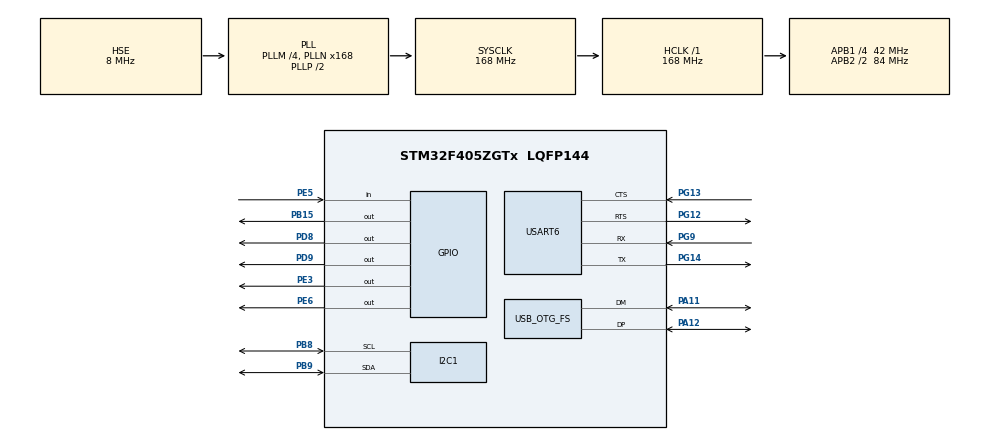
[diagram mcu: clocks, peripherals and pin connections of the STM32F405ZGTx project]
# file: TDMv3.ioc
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Dma.Request0=USART6_RX
Dma.USART6_RX.0.Direction=DMA_PERIPH_TO_MEMORY
Dma.USART6_RX.0.FIFOMode=DMA_FIFOMODE_DISABLE
Dma.USART6_RX.0.Instance=DMA2_Stream1
Dma.USART6_RX.0.MemDataAlignment=DMA_MDATAALIGN_BYTE
Dma.USART6_RX.0.MemInc=DMA_MINC_ENABLE
Dma.USART6_RX.0.Mode=DMA_NORMAL
Dma.USART6_RX.0.PeriphDataAlignment=DMA_PDATAALIGN_BYTE
Dma.USART6_RX.0.PeriphInc=DMA_PINC_DISABLE
Dma.USART6_RX.0.Priority=DMA_PRIORITY_HIGH
Mcu.Family=STM32F4
Mcu.Name=STM32F405ZGTx
Mcu.Package=LQFP144
NVIC.DMA2_Stream1_IRQn=true\:0\:0\:false\:false\:true
NVIC.OTG_FS_IRQn=true\:0\:0\:false\:false\:true
NVIC.PriorityGroup=NVIC_PRIORITYGROUP_4
PA11.Mode=Device_Only
PA11.Signal=USB_OTG_FS_DM
PA12.Mode=Device_Only
PA12.Signal=USB_OTG_FS_DP
PB15.Signal=GPIO_Output
PB8.Mode=I2C
PB8.Signal=I2C1_SCL
PB9.Mode=I2C
PB9.Signal=I2C1_SDA
PD8.Signal=GPIO_Output
PD9.Signal=GPIO_Output
PE3.Signal=GPIO_Output
PE5.Signal=GPIO_Input
PE6.Signal=GPIO_Output
PG12.Mode=CTS_RTS
PG12.Signal=USART6_RTS
PG13.Mode=CTS_RTS
PG13.Signal=USART6_CTS
PG14.Mode=Asynchronous
PG14.Signal=USART6_TX
PG9.Mode=Asynchronous
PG9.Signal=USART6_RX
PH0-OSC_IN.Mode=HSE-External-Oscillator
PH0-OSC_IN.Signal=RCC_OSC_IN
PH1-OSC_OUT.Mode=HSE-External-Oscillator
PH1-OSC_OUT.Signal=RCC_OSC_OUT
ProjectManager.HeapSize=0x800
ProjectManager.StackSize=0x400
ProjectManager.TargetToolchain=MDK-ARM V5
RCC.48MHZClocksFreq_Value=48000000
RCC.AHBFreq_Value=168000000
RCC.APB1CLKDivider=RCC_HCLK_DIV4
RCC.APB1Freq_Value=42000000
RCC.APB1TimFreq_Value=84000000
RCC.APB2CLKDivider=RCC_HCLK_DIV2
RCC.APB2Freq_Value=84000000
RCC.APB2TimFreq_Value=168000000
RCC.CortexFreq_Value=168000000
RCC.HCLKFreq_Value=168000000
RCC.HSE_VALUE=8000000
RCC.HSI_VALUE=16000000
RCC.LSE_VALUE=32768
RCC.PLLM=4
RCC.PLLN=168
RCC.PLLQ=7
RCC.SYSCLKFreq_VALUE=168000000
RCC.SYSCLKSource=RCC_SYSCLKSOURCE_PLLCLK
RCC.VCOOutputFreq_Value=336000000
USART6.OverSampling=UART_OVERSAMPLING_8
USART6.WordLength=UART_WORDLENGTH_8B
USB_DEVICE.CLASS_NAME-CDC_FS=CDC
USB_DEVICE.CLASS_NAME_FS=CDC
USB_DEVICE.USBD_HandleTypeDef-CDC_FS=hUsbDeviceFS
USB_DEVICE.VirtualMode-CDC_FS=Cdc
USB_DEVICE.VirtualModeFS=Cdc_FS
USB_OTG_FS.VirtualMode=Device_Only
USB_OTG_FS.ep0_mps=DEP0CTL_MPS_8
USB_OTG_FS.vbus_sensing_enable=DISABLE
VP_USB_DEVICE_VS_USB_DEVICE_CDC_FS.Mode=CDC_FS
board=TDMv3

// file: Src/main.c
/**
  ******************************************************************************
  * File Name          : main.c
  * Description        : Main program body
  ******************************************************************************
  *
  * COPYRIGHT(c) 2017 STMicroelectronics
  *
  * Redistribution and use in source and binary forms, with or without modification,
  * are permitted provided that the following conditions are met:
  *   1. Redistributions of source code must retain the above copyright notice,
  *      this list of conditions and the following disclaimer.
  *   2. Redistributions in binary form must reproduce the above copyright notice,
  *      this list of conditions and the following disclaimer in the documentation
  *      and/or other materials provided with the distribution.
  *   3. Neither the name of STMicroelectronics nor the names of its contributors
  *      may be used to endorse or promote products derived from this software
  *      without specific prior written permission.
  *
  * THIS SOFTWARE IS PROVIDED BY THE COPYRIGHT HOLDERS AND CONTRIBUTORS "AS IS"
  * AND ANY EXPRESS OR IMPLIED WARRANTIES, INCLUDING, BUT NOT LIMITED TO, THE
  * IMPLIED WARRANTIES OF MERCHANTABILITY AND FITNESS FOR A PARTICULAR PURPOSE ARE
  * DISCLAIMED. IN NO EVENT SHALL THE COPYRIGHT HOLDER OR CONTRIBUTORS BE LIABLE
  * FOR ANY DIRECT, INDIRECT, INCIDENTAL, SPECIAL, EXEMPLARY, OR CONSEQUENTIAL
  * DAMAGES (INCLUDING, BUT NOT LIMITED TO, PROCUREMENT OF SUBSTITUTE GOODS OR
  * SERVICES; LOSS OF USE, DATA, OR PROFITS; OR BUSINESS INTERRUPTION) HOWEVER
  * CAUSED AND ON ANY THEORY OF LIABILITY, WHETHER IN CONTRACT, STRICT LIABILITY,
  * OR TORT (INCLUDING NEGLIGENCE OR OTHERWISE) ARISING IN ANY WAY OUT OF THE USE
  * OF THIS SOFTWARE, EVEN IF ADVISED OF THE POSSIBILITY OF SUCH DAMAGE.
  *
  ******************************************************************************
  */
#include "stm32f4xx_hal.h"
#include "usb_device.h"

/* USER CODE BEGIN Includes */
#include "usbd_cdc_if.h"
#include "main.h"
#include <string.h>

/* USER CODE END Includes */

I2C_HandleTypeDef hi2c1;

UART_HandleTypeDef huart6;
DMA_HandleTypeDef hdma_usart6_rx;

/* USER CODE BEGIN PV */
/* Private variables ---------------------------------------------------------*/
static const uint16_t BUFSIZE = 20;
static const uint16_t TIMEOUT = 500;
static const uint8_t scanIntervalMs = 10;
static uint8_t rxByte = 0, rxBufIdx = 0;
static uint8_t rxBuf[BUFSIZE];
static uint8_t txBuf[BUFSIZE];
static uint8_t data[BUFSIZE] = {0,0,1,1,2,2,3,3,4,4,5,5,6,6,7,7,8,8,9,9};
static uint16_t counterBT = 0, timerBT = 0;
uint8_t txBleUart = 1;

/* USER CODE END PV */

void SystemClock_Config(void);
void Error_Handler(void);
static void MX_GPIO_Init(void);
static void MX_DMA_Init(void);
static void MX_USART6_UART_Init(void);
static void MX_I2C1_Init(void);

/* USER CODE BEGIN PFP */
/* Private function prototypes -----------------------------------------------*/
void checkUsbComBuf(void);
#define USB_COM_BUFSIZE 128
uint8_t usbComOutBuf[USB_COM_BUFSIZE];

/* USER CODE END PFP */

/* USER CODE BEGIN 0 */

typedef enum
{
  StateOff = 0,
  StateOn
} StateOnOff;

static void setLed(uint8_t ledIdx, StateOnOff state)
{
  switch (ledIdx)
  {
    case 1:
      HAL_GPIO_WritePin(GPIOB, GPIO_PIN_15, (GPIO_PinState)state);
    break;
    case 2:
      HAL_GPIO_WritePin(GPIOD, GPIO_PIN_8,  (GPIO_PinState)state);
    break;
    case 3:
      HAL_GPIO_WritePin(GPIOD, GPIO_PIN_9,  (GPIO_PinState)state);
    break;
  }
}

static void setBlePwr(StateOnOff state)
{
	HAL_GPIO_WritePin(GPIOE, GPIO_PIN_3, (state == StateOn) ? GPIO_PIN_RESET : GPIO_PIN_SET);
}

static void setBleWake(GPIO_PinState state)
{
	HAL_GPIO_WritePin(GPIOE, GPIO_PIN_6, state);
}

/* USER CODE END 0 */

int main(void)
{

  /* MCU Configuration----------------------------------------------------------*/

  /* Reset of all peripherals, Initializes the Flash interface and the Systick. */
  HAL_Init();

  /* Configure the system clock */
  SystemClock_Config();

  /* Initialize all configured peripherals */
  MX_GPIO_Init();
  MX_DMA_Init();
  MX_USART6_UART_Init();
  MX_I2C1_Init();
  MX_USB_DEVICE_Init();

  /* USER CODE BEGIN 2 */
  setLed(1, StateOn);
  setBlePwr(StateOn);
  memset(txBuf, 0, BUFSIZE);
  memset(rxBuf, 0, BUFSIZE);
  /* USER CODE END 2 */

  /* Infinite loop */
  /* USER CODE BEGIN WHILE */
  LIS3DSH_Detect();
  LIS3DSH_Init(LIS3DSH_Sensitivity_2G, LIS3DSH_Filter_800Hz);
  l3g_init();
  l3g_enableDefault();
  uint32_t oldTick = 0;
  uint8_t led2State = StateOn;
  SNR_DATA_t dataBlock;

  HAL_UART_Receive_DMA(&huart6, &rxByte, 1);

  while (1)
  {
  /* USER CODE END WHILE */

  /* USER CODE BEGIN 3 */
    uint32_t newTick = HAL_GetTick();
    if (newTick - oldTick < scanIntervalMs)
    {
      continue;
    }

    checkUsbComBuf();

    oldTick = newTick;
    timerBT++;

    LIS3DSH_ReadAxes(&(dataBlock.dataLIS3DSH));
    l3g_read(&(dataBlock.dataL3GD20H));

    if ((dataBlock.dataLIS3DSH.X == 0 && dataBlock.dataLIS3DSH.Y == 0 && dataBlock.dataLIS3DSH.Z == 0) ||
        (dataBlock.dataL3GD20H.x == 0 && dataBlock.dataL3GD20H.y == 0 && dataBlock.dataL3GD20H.z == 0))
      Error_Handler();

    if (TIMEOUT <= timerBT * scanIntervalMs)
    {
      timerBT = 0;
      setLed(2, led2State);
      led2State = !led2State;
      memcpy(txBuf + 2, data + 2, 18);
      *((uint16_t *)txBuf) = counterBT++;
      if (txBleUart)
        HAL_UART_Transmit(&huart6, (uint8_t*)txBuf, BUFSIZE, TIMEOUT);

      int i=0;
      memset(usbComOutBuf, 0, USB_COM_BUFSIZE);
      while (i<rxBufIdx)
      {
        sprintf((char *)usbComOutBuf + i*5, "0x%02X ", rxBuf[i]);
        i++;
      }
      rxBufIdx = 0;
      if (i > 0)
      {
        sprintf((char *)usbComOutBuf + i*5, "---\n");
        CDC_Transmit_FS(usbComOutBuf, strlen((char *)usbComOutBuf));
      }
    }
  }
  /* USER CODE END 3 */

}

/** System Clock Configuration
*/
void SystemClock_Config(void)
{

  RCC_OscInitTypeDef RCC_OscInitStruct;
  RCC_ClkInitTypeDef RCC_ClkInitStruct;

  __HAL_RCC_PWR_CLK_ENABLE();

  __HAL_PWR_VOLTAGESCALING_CONFIG(PWR_REGULATOR_VOLTAGE_SCALE1);

  RCC_OscInitStruct.OscillatorType = RCC_OSCILLATORTYPE_HSE;
  RCC_OscInitStruct.HSEState = RCC_HSE_ON;
  RCC_OscInitStruct.PLL.PLLState = RCC_PLL_ON;
  RCC_OscInitStruct.PLL.PLLSource = RCC_PLLSOURCE_HSE;
  RCC_OscInitStruct.PLL.PLLM = 4;
  RCC_OscInitStruct.PLL.PLLN = 168;
  RCC_OscInitStruct.PLL.PLLP = RCC_PLLP_DIV2;
  RCC_OscInitStruct.PLL.PLLQ = 7;
  if (HAL_RCC_OscConfig(&RCC_OscInitStruct) != HAL_OK)
  {
    Error_Handler();
  }

  RCC_ClkInitStruct.ClockType = RCC_CLOCKTYPE_HCLK|RCC_CLOCKTYPE_SYSCLK
                              |RCC_CLOCKTYPE_PCLK1|RCC_CLOCKTYPE_PCLK2;
  RCC_ClkInitStruct.SYSCLKSource = RCC_SYSCLKSOURCE_PLLCLK;
  RCC_ClkInitStruct.AHBCLKDivider = RCC_SYSCLK_DIV1;
  RCC_ClkInitStruct.APB1CLKDivider = RCC_HCLK_DIV4;
  RCC_ClkInitStruct.APB2CLKDivider = RCC_HCLK_DIV2;
  if (HAL_RCC_ClockConfig(&RCC_ClkInitStruct, FLASH_LATENCY_5) != HAL_OK)
  {
    Error_Handler();
  }

  HAL_SYSTICK_Config(HAL_RCC_GetHCLKFreq()/1000);

  HAL_SYSTICK_CLKSourceConfig(SYSTICK_CLKSOURCE_HCLK);

  /* SysTick_IRQn interrupt configuration */
  HAL_NVIC_SetPriority(SysTick_IRQn, 0, 0);
}

/* I2C1 init function */
static void MX_I2C1_Init(void)
{

  hi2c1.Instance = I2C1;
  hi2c1.Init.ClockSpeed = 100000;
  hi2c1.Init.DutyCycle = I2C_DUTYCYCLE_2;
  hi2c1.Init.OwnAddress1 = 0;
  hi2c1.Init.AddressingMode = I2C_ADDRESSINGMODE_7BIT;
  hi2c1.Init.DualAddressMode = I2C_DUALADDRESS_DISABLE;
  hi2c1.Init.OwnAddress2 = 0;
  hi2c1.Init.GeneralCallMode = I2C_GENERALCALL_DISABLE;
  hi2c1.Init.NoStretchMode = I2C_NOSTRETCH_DISABLE;
  if (HAL_I2C_Init(&hi2c1) != HAL_OK)
  {
    Error_Handler();
  }

}

/* USART6 init function */
static void MX_USART6_UART_Init(void)
{

  huart6.Instance = USART6;
  huart6.Init.BaudRate = 115200;
  huart6.Init.WordLength = UART_WORDLENGTH_8B;
  huart6.Init.StopBits = UART_STOPBITS_1;
  huart6.Init.Parity = UART_PARITY_NONE;
  huart6.Init.Mode = UART_MODE_TX_RX;
  huart6.Init.HwFlowCtl = UART_HWCONTROL_RTS_CTS;
  huart6.Init.OverSampling = UART_OVERSAMPLING_8;
  if (HAL_UART_Init(&huart6) != HAL_OK)
  {
    Error_Handler();
  }

}

static void MX_DMA_Init(void)
{
  /* DMA controller clock enable */
  __HAL_RCC_DMA2_CLK_ENABLE();

  /* DMA interrupt init */
  /* DMA2_Stream1_IRQn interrupt configuration */
  HAL_NVIC_SetPriority(DMA2_Stream1_IRQn, 0, 0);
  HAL_NVIC_EnableIRQ(DMA2_Stream1_IRQn);

}

/** Configure pins as
        * Analog
        * Input
        * Output
        * EVENT_OUT
        * EXTI
*/
static void MX_GPIO_Init(void)
{

  GPIO_InitTypeDef GPIO_InitStruct;

  /* GPIO Ports Clock Enable */
  __HAL_RCC_GPIOE_CLK_ENABLE();
  __HAL_RCC_GPIOH_CLK_ENABLE();
  __HAL_RCC_GPIOB_CLK_ENABLE();
  __HAL_RCC_GPIOD_CLK_ENABLE();
  __HAL_RCC_GPIOA_CLK_ENABLE();
  __HAL_RCC_GPIOG_CLK_ENABLE();

  /*Configure GPIO pin Output Level */
  HAL_GPIO_WritePin(GPIOE, GPIO_PIN_3|GPIO_PIN_6, GPIO_PIN_RESET);

  /*Configure GPIO pin Output Level */
  HAL_GPIO_WritePin(GPIOB, GPIO_PIN_15, GPIO_PIN_RESET);

  /*Configure GPIO pin Output Level */
  HAL_GPIO_WritePin(GPIOD, GPIO_PIN_8|GPIO_PIN_9, GPIO_PIN_RESET);

  /*Configure GPIO pins : PE3 PE6 */
  GPIO_InitStruct.Pin = GPIO_PIN_3|GPIO_PIN_6;
  GPIO_InitStruct.Mode = GPIO_MODE_OUTPUT_PP;
  GPIO_InitStruct.Pull = GPIO_NOPULL;
  GPIO_InitStruct.Speed = GPIO_SPEED_FREQ_LOW;
  HAL_GPIO_Init(GPIOE, &GPIO_InitStruct);

  /*Configure GPIO pin : PE5 */
  GPIO_InitStruct.Pin = GPIO_PIN_5;
  GPIO_InitStruct.Mode = GPIO_MODE_INPUT;
  GPIO_InitStruct.Pull = GPIO_NOPULL;
  HAL_GPIO_Init(GPIOE, &GPIO_InitStruct);

  /*Configure GPIO pin : PB15 */
  GPIO_InitStruct.Pin = GPIO_PIN_15;
  GPIO_InitStruct.Mode = GPIO_MODE_OUTPUT_PP;
  GPIO_InitStruct.Pull = GPIO_NOPULL;
  GPIO_InitStruct.Speed = GPIO_SPEED_FREQ_LOW;
  HAL_GPIO_Init(GPIOB, &GPIO_InitStruct);

  /*Configure GPIO pins : PD8 PD9 */
  GPIO_InitStruct.Pin = GPIO_PIN_8|GPIO_PIN_9;
  GPIO_InitStruct.Mode = GPIO_MODE_OUTPUT_PP;
  GPIO_InitStruct.Pull = GPIO_NOPULL;
  GPIO_InitStruct.Speed = GPIO_SPEED_FREQ_LOW;
  HAL_GPIO_Init(GPIOD, &GPIO_InitStruct);

}

/* USER CODE BEGIN 4 */

void checkUsbComBuf(void)
{
	uint8_t rxMsg[RXCHRBUFSIZE];
  uint8_t addrCmd[8] = {0x00, 0x04, 0x09, 0x01, 0x00, 0x10, 0x00, 0x00};
  uint8_t dfuResetCmd[5]  = {0x00, 0x01, 0x09, 0x00, 0x01};
  uint8_t sysResetCmd[5]  = {0x00, 0x01, 0x00, 0x00, 0x01};
	if (getMsg(rxMsg, RXCHRBUFSIZE) > 0)
	{
		switch (rxMsg[0])
		{
			case 'p':
			case 'P':
				txBleUart = 0;
				break;
			case 't':
			case 'T':
				txBleUart = 1;
				break;
			case 'r':
			case 'R':
				memset(usbComOutBuf, 0, USB_COM_BUFSIZE);
				sprintf((char *)usbComOutBuf, "BLE Reset.\n");
				CDC_Transmit_FS(usbComOutBuf, strlen((char *)usbComOutBuf));
        setLed(1, StateOff);
        setBlePwr(StateOff);
        HAL_Delay(500);
        setLed(1, StateOn);
        setBlePwr(StateOn);
        HAL_Delay(500);
        HAL_UART_Transmit(&huart6, addrCmd, 8, TIMEOUT);
				break;
			case 'h':
			case 'H':
				memset(usbComOutBuf, 0, USB_COM_BUFSIZE);
				sprintf((char *)usbComOutBuf, "BLE P0_0 High.\n");
				CDC_Transmit_FS(usbComOutBuf, strlen((char *)usbComOutBuf));
        setBleWake(GPIO_PIN_SET);
				break;
			case 'l':
			case 'L':
				memset(usbComOutBuf, 0, USB_COM_BUFSIZE);
				sprintf((char *)usbComOutBuf, "BLE P0_0 Low.\n");
				CDC_Transmit_FS(usbComOutBuf, strlen((char *)usbComOutBuf));
        setBleWake(GPIO_PIN_RESET);
				break;
			case 'a':
			case 'A':
				memset(usbComOutBuf, 0, USB_COM_BUFSIZE);
				sprintf((char *)usbComOutBuf, "BLE ADDR Command.\n");
				CDC_Transmit_FS(usbComOutBuf, strlen((char *)usbComOutBuf));
        HAL_UART_Transmit(&huart6, addrCmd, 8, TIMEOUT);
				break;
			case 'd':
			case 'D':
				memset(usbComOutBuf, 0, USB_COM_BUFSIZE);
				sprintf((char *)usbComOutBuf, "BLE DFU Command.\n");
				CDC_Transmit_FS(usbComOutBuf, strlen((char *)usbComOutBuf));
        HAL_UART_Transmit(&huart6, dfuResetCmd, 5, TIMEOUT);
				break;
			default:
				memset(usbComOutBuf, 0, USB_COM_BUFSIZE);
				sprintf((char *)usbComOutBuf, "Command \'%c\' is not valid.\n", rxMsg[0]);
				CDC_Transmit_FS(usbComOutBuf, strlen((char *)usbComOutBuf));
				break;
		}
	}
}

void HAL_UART_RxCpltCallback(UART_HandleTypeDef *huart)
{
  rxBuf[rxBufIdx++] = rxByte;
  HAL_UART_Receive_DMA(&huart6, &rxByte, 1);
}
/* USER CODE END 4 */

void Error_Handler(void)
{
  while(1)
  {
  }
}

/************************ (C) COPYRIGHT STMicroelectronics *****END OF FILE****/
